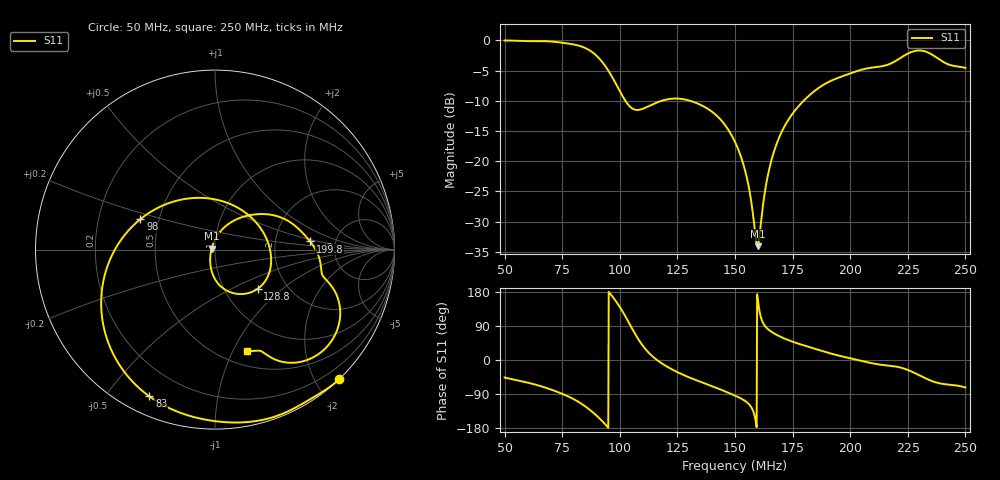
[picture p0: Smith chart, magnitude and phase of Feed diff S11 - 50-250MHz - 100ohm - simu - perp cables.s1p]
! TOUCHSTONE file generated by CST MICROWAVE STUDIO
! Date and time: Thu Dec 15 14:07:13 2016
! Project name: PAPER-FEED-NEWREF-1ports-100ohm-LIGHT-cable4-19-2.cst
! Header version: 2015
! Port assignment regex: !\s*Touchstone port\s*([0-9]+)\s*=\s*CST MWS port\s*([0-9]+)\s*\(\"(.*)\"\)(\s*mode\s*([0-9]+))?.*
! Touchstone port assignment:
! Touchstone port 1 = CST MWS port 1 ("")
# MHZ S MA R 100
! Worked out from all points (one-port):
!   1001 points, 50 MHz to 250 MHz, reference 100 ohm
!   lowest |S11| = -34.1 dB at 159.8 MHz (marker M1), VSWR 1.04, Z = 96.3 + j1.05 ohm
!   |S11| at or under -10 dB: 102.4 MHz to 118.1 MHz (15.71 MHz wide, 14.2 % of centre); 130.5 MHz to 179.8 MHz (49.23 MHz wide, 31.7 % of centre)
!   S11 on the Smith chart (normalised r, x): 50 MHz: 0.00, -2.34; 83 MHz: 0.08, -0.65; 98 MHz: 0.39, +0.17; 128.8 MHz: 1.42, -0.69; 199.8 MHz: 3.21, +0.41; 250 MHz: 0.65, -1.14
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50  1 -46.3
64  0.9888 -66.0
75  0.9575 -89.2
83  0.8958 -114.1
91  0.7113 -153.0
94.4  0.5868 -174.7
98  0.449 157.8
100  0.381 139.9
104.6  0.2809 91.2
110.8  0.2758 31.3
117.2  0.3119 -4.7
125  0.3302 -32.1
128.8  0.3227 -42.6
141.4  0.2446 -72.2
150  0.1443 -94.0
155  0.07495 -110.8
159.8  0.01978 164.0
163.6  0.06561 85.6
166  0.1048 73.7
175  0.2478 48.3
186.4  0.4056 26.5
199.8  0.5316 4.9
200  0.5333 4.6
219.2  0.6675 -16.6
225  0.7781 -26.3
234.2  0.7877 -52.5
240  0.6714 -62.9
250  0.5919 -72.4
